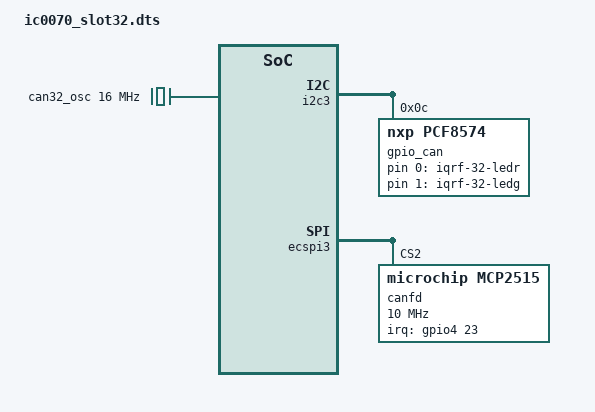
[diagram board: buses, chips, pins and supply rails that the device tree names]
/dts-v1/;


/plugin/;

/ {
	fragment@0 {
		target = <&i2c3>;
		__overlay__ {
			#address-cells = <1>;
			#size-cells = <0>;
			gpio_can: pca9501@12 {
				compatible = "nxp,pcf8574";
				gpio-controller;
				#gpio-cells = <2>;
				reg = <12>;
				gpio-line-names = "SLOT32_IQRF_BTN",
					"SLOT32_CANFD_LED0",
					"SLOT32_CANFD_LED1",
					"SLOT32_CANFD_RESET_N";
			};
		};
	};

	fragment@1 {
		target = <&ecspi3>;
		__overlay__ {
			status = "okay";
			#address-cells = <1>;
			#size-cells = <0>;

			canfd: spi@2 {
				compatible = "microchip,mcp2515";
				reg = <2>;
				status = "okay";
				spi-max-frequency = <10000000>;
				clocks = <&can32_osc>;
				pinctrl-names = "default";
				pinctrl-0 = <&pinctrl_slotirq2>;
				interrupt-parent = <&gpio4>;
				interrupts = <23 0>;
			};
		};
	};

	fragment@4 {
		target-path = "/";
		__overlay__ {
			led_slot32 {
				compatible = "gpio-leds";
				iqrf-led@1 {
					label = "iqrf-32-ledr";
					gpios = <&gpio_can 0 0>;
					default-state = "off";
					color = <1>;
				};
				iqrf-led@2 {
					label = "iqrf-32-ledg";
					gpios = <&gpio_can 1 0>;
					default-state = "off";
					color = <2>;
				};
			};
		}; 
	};

   fragment@5 {
       target-path = "/";
       __overlay__ {
           /* external oscillator of mcp2515 */
           can32_osc: can32_osc {
               compatible = "fixed-clock";
               #clock-cells = <0>;
               clock-frequency  = <16000000>;
           };
       };
   };

};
